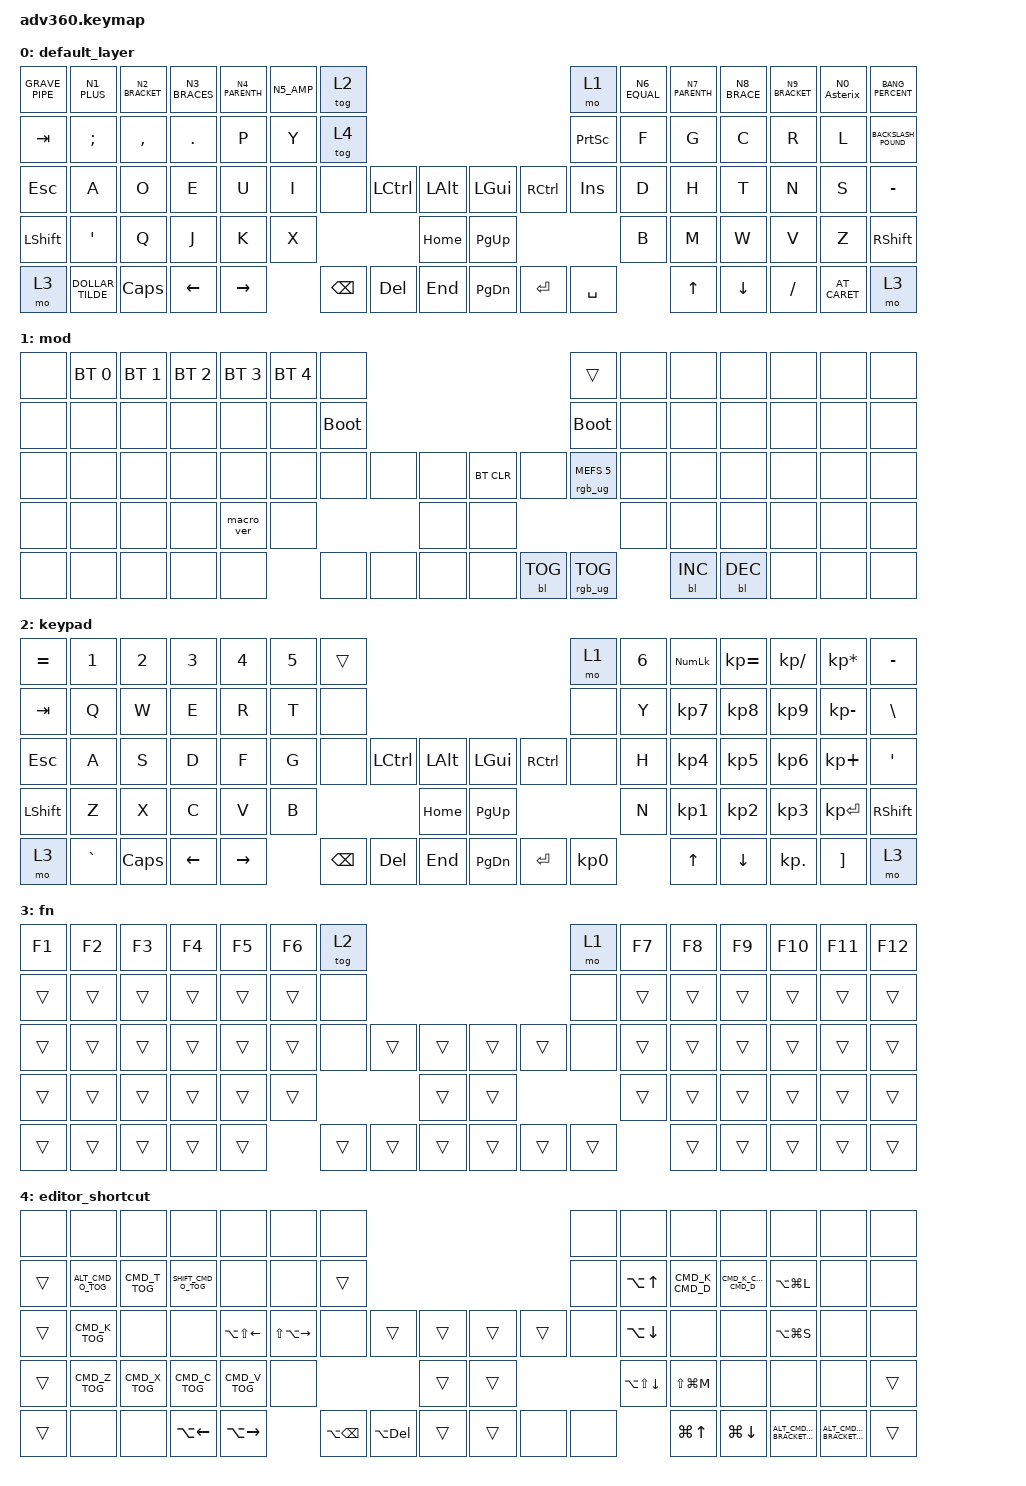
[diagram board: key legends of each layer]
#include <behaviors.dtsi>
#include <dt-bindings/zmk/backlight.h>
#include <dt-bindings/zmk/bt.h>
#include <dt-bindings/zmk/keys.h>
#include <dt-bindings/zmk/rgb.h>

/ {
    behaviors {
        #include "macros.dtsi"
      #include "version.dtsi"
      #ifndef VERSION_MACRO

        macro_ver: macro_ver {
            compatible = "zmk,behavior-macro";
            label = "macro_version";
            #binding-cells = <0>;
            bindings = <&kp RET>;
        };

        #endif

        hm: homerow_mods {
            compatible = "zmk,behavior-hold-tap";
            label = "HOMEROW_MODS";
            #binding-cells = <2>;
            tapping-term-ms = <200>;
            quick_tap_ms = <175>;
            flavor = "tap-preferred";
            bindings = <&kp>, <&kp>;
        };

        N1_PLUS: N1_PLUS {
            compatible = "zmk,behavior-mod-morph";
            label = "N1_PLUS";
            bindings = <&kp PLUS>, <&kp NUMBER_1>;

            #binding-cells = <0>;
            mods = <(MOD_LSFT|MOD_RSFT)>;
        };

        N2_BRACKET: N2_BRACKET {
            compatible = "zmk,behavior-mod-morph";
            label = "N2_BRACKET";
            bindings = <&kp LEFT_BRACKET>, <&kp NUMBER_2>;

            #binding-cells = <0>;
            mods = <(MOD_LSFT|MOD_RSFT)>;
        };

        N3_BRACES: N3_BRACES {
            compatible = "zmk,behavior-mod-morph";
            label = "N3_BRACES";
            bindings = <&kp LEFT_BRACE>, <&kp NUMBER_3>;

            #binding-cells = <0>;
            mods = <(MOD_LSFT|MOD_RSFT)>;
        };

        N4_PARENTH: N4_PARENTH {
            compatible = "zmk,behavior-mod-morph";
            label = "N4_PARENTH";
            bindings = <&kp LEFT_PARENTHESIS>, <&kp NUMBER_4>;

            #binding-cells = <0>;
            mods = <(MOD_LSFT|MOD_RSFT)>;
        };

        N5_AMP: N5_AMP {
            compatible = "zmk,behavior-mod-morph";
            label = "N5_AMP";
            bindings = <&kp AMPS>, <&kp N5>;

            #binding-cells = <0>;
            mods = <(MOD_LSFT|MOD_RSFT)>;
        };

        N6_EQUAL: N6_EQUAL {
            compatible = "zmk,behavior-mod-morph";
            label = "N6_EQUAL";
            bindings = <&kp EQUAL>, <&kp NUMBER_6>;

            #binding-cells = <0>;
            mods = <(MOD_LSFT|MOD_RSFT)>;
        };

        N7_PARENTH: N7_PARENTH {
            compatible = "zmk,behavior-mod-morph";
            label = "N7_PARENTH";
            bindings = <&kp RIGHT_PARENTHESIS>, <&kp N7>;

            #binding-cells = <0>;
            mods = <(MOD_LSFT|MOD_RSFT)>;
        };

        N8_BRACE: N8_BRACE {
            compatible = "zmk,behavior-mod-morph";
            label = "N8_BRACE";
            bindings = <&kp RIGHT_BRACE>, <&kp N8>;

            #binding-cells = <0>;
            mods = <(MOD_LSFT|MOD_RSFT)>;
        };

        N9_BRACKET: N9_BRACKET {
            compatible = "zmk,behavior-mod-morph";
            label = "N9_BRACKET";
            bindings = <&kp RIGHT_BRACKET>, <&kp N9>;

            #binding-cells = <0>;
            mods = <(MOD_LSFT|MOD_RSFT)>;
        };

        N0_Asterix: N0_Asterix {
            compatible = "zmk,behavior-mod-morph";
            label = "N0_ASTERIX";
            bindings = <&kp ASTERISK>, <&kp N0>;

            #binding-cells = <0>;
            mods = <(MOD_LSFT|MOD_RSFT)>;
        };

        GRAVE_PIPE: GRAVE_PIPE {
            compatible = "zmk,behavior-mod-morph";
            label = "GRAVE_PIPE";
            bindings = <&kp PIPE>, <&kp GRAVE>;

            #binding-cells = <0>;
            mods = <(MOD_LSFT|MOD_RSFT)>;
        };

        BANG_PERCENT: BANG_PERCENT {
            compatible = "zmk,behavior-mod-morph";
            label = "BANG_PERCENT";
            bindings = <&kp EXCLAMATION>, <&kp PERCENT>;

            #binding-cells = <0>;
            mods = <(MOD_LSFT|MOD_RSFT)>;
        };

        DOLLAR_TILDE: DOLLAR_TILDE {
            compatible = "zmk,behavior-mod-morph";
            label = "DOLLAR_TILDE";
            bindings = <&kp DOLLAR>, <&kp TILDE>;

            #binding-cells = <0>;
            mods = <(MOD_LSFT|MOD_RSFT)>;
        };

        BACKSLASH_POUND: BACKSLASH_POUND {
            compatible = "zmk,behavior-mod-morph";
            label = "BACKSLASH_POUND";
            bindings = <&kp BACKSLASH>, <&kp NON_US_HASH>;

            #binding-cells = <0>;
            mods = <(MOD_LSFT|MOD_RSFT)>;
        };

        AT_CARET: AT_CARET {
            compatible = "zmk,behavior-mod-morph";
            label = "AT_CARET";
            bindings = <&kp AT_SIGN>, <&kp CARET>;

            #binding-cells = <0>;
            mods = <(MOD_LSFT|MOD_RSFT)>;
        };

        new_behavior: new_behavior {
            compatible = "zmk,behavior-mod-morph";
            label = "NEW_BEHAVIOR";
            bindings = <&kp AT_SIGN>, <&kp CARET>;

            #binding-cells = <0>;
            mods = <(MOD_LSFT|MOD_RSFT)>;
        };
    };

    macros {
        CMD_X_TOG: cmd_x_tog {
            compatible = "zmk,behavior-macro";
            #binding-cells = <0>;
            bindings = <&kp LG(X)>;
            label = "CMD_X_TOG";
        };

        CMD_Z_TOG: cmd_z_tog {
            compatible = "zmk,behavior-macro";
            #binding-cells = <0>;
            bindings = <&kp LG(Z)>;
            label = "CMD_Z_TOG";
        };

        CMD_V_TOG: cmd_v_tog {
            compatible = "zmk,behavior-macro";
            #binding-cells = <0>;
            bindings = <&kp LG(V)>;
            label = "CMD_V_TOG";
        };

        CMD_C_TOG: cmd_c_tog {
            compatible = "zmk,behavior-macro";
            #binding-cells = <0>;
            bindings = <&kp LG(C)>;
            label = "CMD_C_TOG";
        };

        CMD_K_TOG: cmd_k_tog {
            compatible = "zmk,behavior-macro";
            #binding-cells = <0>;
            bindings = <&kp LG(C) &to 2>;
            label = "CMD_K_TOG";
        };

        ALT_CMD_O_TOG: alt_cmd_o_tog {
            compatible = "zmk,behavior-macro";
            #binding-cells = <0>;
            bindings = <&kp LG(LA(O)) &to 2>;
            label = "ALT_CMD_O_TOG";
        };

        CMD_T_TOG: cmd_t_tog {
            compatible = "zmk,behavior-macro";
            #binding-cells = <0>;
            bindings = <&kp LG(T) &to 2>;
            label = "CMD_T_TOG";
        };

        SHIFT_CMD_O_TOG: shift_cmd_o_tog {
            compatible = "zmk,behavior-macro";
            #binding-cells = <0>;
            bindings = <&kp LG(LS(O)) &to 2>;
            label = "SHIFT_CMD_O_TOG";
        };

        ALT_CMD_LEFT_BRACKET_TOG: alt_cmd_bracket_tog {
            compatible = "zmk,behavior-macro";
            #binding-cells = <0>;
            bindings = <&kp LG(LA(LEFT_BRACKET)) &to 2>;
            label = "ALT_CMD_BRACKET_TOG";
        };

        ALT_CMD_RIGHT_BRACKET_TOG: new_macro {
            compatible = "zmk,behavior-macro";
            #binding-cells = <0>;
            bindings = <&kp LG(LA(RIGHT_BRACKET)) &to 2>;
            label = "NEW_MACRO";
        };

        CMD_K_CMD_D: cmd_k_cmd_d {
            compatible = "zmk,behavior-macro";
            #binding-cells = <0>;
            bindings = <&kp LG(K)>, <&macro_wait_time 50>, <&kp LG(D)>;

            label = "CMD_K_CMD_D";
        };

        CMD_K_CTRL_CMD_D: cmd_k_shift_cmd_d {
            compatible = "zmk,behavior-macro";
            #binding-cells = <0>;
            bindings = <&kp LG(K)>, <&macro_wait_time 50>, <&kp LG(LS(D))>;

            label = "CMD_K_SHIFT_CMD_D";
        };
    };

    keymap {
        compatible = "zmk,keymap";

        default_layer {
            bindings = <
&GRAVE_PIPE  &N1_PLUS       &N2_BRACKET  &N3_BRACES  &N4_PARENTH  &N5_AMP  &tog 2                                                   &mo 1            &N6_EQUAL  &N7_PARENTH  &N8_BRACE  &N9_BRACKET  &N0_Asterix  &BANG_PERCENT
&kp TAB      &kp SEMICOLON  &kp COMMA    &kp PERIOD  &kp P        &kp Y    &tog 4                                                   &kp PRINTSCREEN  &kp F      &kp G        &kp C      &kp R        &kp L        &BACKSLASH_POUND
&kp ESC      &kp A          &kp O        &kp E       &kp U        &kp I    &none     &kp LCTRL  &kp LALT      &kp LGUI   &kp RCTRL  &kp INSERT       &kp D      &kp H        &kp T      &kp N        &kp S        &kp MINUS
&kp LSHFT    &kp SQT        &kp Q        &kp J       &kp K        &kp X                         &kp HOME      &kp PG_UP                              &kp B      &kp M        &kp W      &kp V        &kp Z        &kp RSHFT
&mo 3        &DOLLAR_TILDE  &kp CAPS     &kp LEFT    &kp RIGHT             &kp BSPC  &kp DEL    &kp END       &kp PG_DN  &kp ENTER  &kp SPACE                   &kp UP       &kp DOWN   &kp SLASH    &AT_CARET    &mo 3
            >;
        };

        mod {
            bindings = <
&none  &bt BT_SEL 0  &bt BT_SEL 1  &bt BT_SEL 2  &bt BT_SEL 3  &bt BT_SEL 4  &none                                                  &trans                  &none  &none       &none       &none  &none  &none
&none  &none         &none         &none         &none         &none         &bootloader                                            &bootloader             &none  &none       &none       &none  &none  &none
&none  &none         &none         &none         &none         &none         &none        &none  &none      &bt BT_CLR  &none       &rgb_ug RGB_MEFS_CMD 5  &none  &none       &none       &none  &none  &none
&none  &none         &none         &none         &macro_ver    &none                             &none      &none                                           &none  &none       &none       &none  &none  &none
&none  &none         &none         &none         &none                       &none        &none  &none      &none       &bl BL_TOG  &rgb_ug RGB_TOG                &bl BL_INC  &bl BL_DEC  &none  &none  &none
            >;
        };

        keypad {
            bindings = <
&kp EQUAL  &kp N1     &kp N2    &kp N3    &kp N4     &kp N5  &trans                                                   &mo 1      &kp N6  &kp KP_NUM  &kp KP_EQUAL  &kp KP_DIVIDE  &kp KP_MULTIPLY  &kp MINUS
&kp TAB    &kp Q      &kp W     &kp E     &kp R      &kp T   &none                                                    &none      &kp Y   &kp KP_N7   &kp KP_N8     &kp KP_N9      &kp KP_MINUS     &kp BSLH
&kp ESC    &kp A      &kp S     &kp D     &kp F      &kp G   &none     &kp LCTRL  &kp LALT      &kp LGUI   &kp RCTRL  &none      &kp H   &kp KP_N4   &kp KP_N5     &kp KP_N6      &kp KP_PLUS      &kp SQT
&kp LSHFT  &kp Z      &kp X     &kp C     &kp V      &kp B                        &kp HOME      &kp PG_UP                        &kp N   &kp KP_N1   &kp KP_N2     &kp KP_N3      &kp KP_ENTER     &kp RSHFT
&mo 3      &kp GRAVE  &kp CAPS  &kp LEFT  &kp RIGHT          &kp BSPC  &kp DEL    &kp END       &kp PG_DN  &kp ENTER  &kp KP_N0          &kp UP      &kp DOWN      &kp KP_DOT     &kp RBKT         &mo 3
            >;
        };

        fn {
            bindings = <
&kp F1  &kp F2  &kp F3  &kp F4  &kp F5  &kp F6  &tog 2                                      &mo 1   &kp F7  &kp F8  &kp F9  &kp F10  &kp F11  &kp F12
&trans  &trans  &trans  &trans  &trans  &trans  &none                                       &none   &trans  &trans  &trans  &trans   &trans   &trans
&trans  &trans  &trans  &trans  &trans  &trans  &none   &trans  &trans      &trans  &trans  &none   &trans  &trans  &trans  &trans   &trans   &trans
&trans  &trans  &trans  &trans  &trans  &trans                  &trans      &trans                  &trans  &trans  &trans  &trans   &trans   &trans
&trans  &trans  &trans  &trans  &trans          &trans  &trans  &trans      &trans  &trans  &trans          &trans  &trans  &trans   &trans   &trans
            >;
        };

        editor_shortcut {
            bindings = <
&none   &none           &none       &none               &none                   &none                    &none                                                          &none  &none                   &none             &none               &none                      &none                       &none
&trans  &ALT_CMD_O_TOG  &CMD_T_TOG  &SHIFT_CMD_O_TOG    &none                   &none                    &trans                                                         &none  &kp LA(UP_ARROW)        &CMD_K_CMD_D      &CMD_K_CTRL_CMD_D   &kp LA(LG(L))              &none                       &none
&trans  &CMD_K_TOG      &none       &none               &kp LA(LS(LEFT_ARROW))  &kp LS(LA(RIGHT_ARROW))  &none              &trans          &trans      &trans  &trans  &none  &kp LA(DOWN_ARROW)      &none             &none               &kp LA(LG(S))              &none                       &none
&trans  &CMD_Z_TOG      &CMD_X_TOG  &CMD_C_TOG          &CMD_V_TOG              &none                                                       &trans      &trans                 &kp LA(LS(DOWN_ARROW))  &kp LS(LG(M))     &none               &none                      &none                       &trans
&trans  &none           &none       &kp LA(LEFT_ARROW)  &kp LA(RIGHT_ARROW)                              &kp LA(BACKSPACE)  &kp LA(DELETE)  &trans      &trans  &none   &none                          &kp LG(UP_ARROW)  &kp LG(DOWN_ARROW)  &ALT_CMD_LEFT_BRACKET_TOG  &ALT_CMD_RIGHT_BRACKET_TOG  &trans
            >;
        };
    };
};
